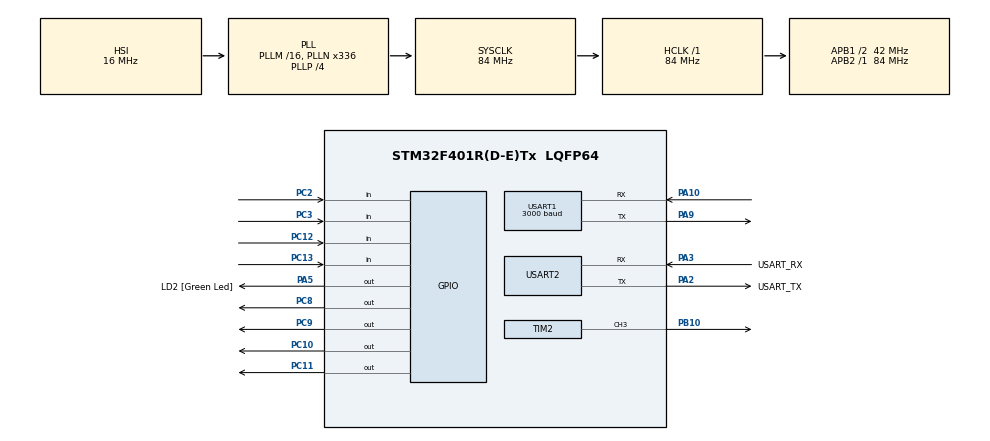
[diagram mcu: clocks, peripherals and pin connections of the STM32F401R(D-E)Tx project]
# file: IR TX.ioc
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Dma.Request0=USART2_TX
Dma.USART2_TX.0.Direction=DMA_MEMORY_TO_PERIPH
Dma.USART2_TX.0.FIFOMode=DMA_FIFOMODE_DISABLE
Dma.USART2_TX.0.Instance=DMA1_Stream6
Dma.USART2_TX.0.MemDataAlignment=DMA_MDATAALIGN_BYTE
Dma.USART2_TX.0.MemInc=DMA_MINC_ENABLE
Dma.USART2_TX.0.Mode=DMA_NORMAL
Dma.USART2_TX.0.PeriphDataAlignment=DMA_PDATAALIGN_BYTE
Dma.USART2_TX.0.PeriphInc=DMA_PINC_DISABLE
Dma.USART2_TX.0.Priority=DMA_PRIORITY_LOW
Mcu.Family=STM32F4
Mcu.Name=STM32F401R(D-E)Tx
Mcu.Package=LQFP64
NVIC.DMA1_Stream6_IRQn=true\:0\:0\:false\:false\:true\:false\:true\:true
NVIC.PriorityGroup=NVIC_PRIORITYGROUP_0
NVIC.TIM1_UP_TIM10_IRQn=true\:0\:0\:false\:false\:true\:true\:true\:true
NVIC.TIM2_IRQn=true\:0\:0\:false\:false\:true\:true\:true\:true
NVIC.TIM3_IRQn=true\:0\:0\:false\:false\:true\:true\:true\:true
NVIC.USART1_IRQn=true\:0\:0\:false\:false\:true\:true\:true\:true
NVIC.USART2_IRQn=true\:0\:0\:false\:false\:true\:true\:true\:true
PA10.Mode=Asynchronous
PA10.Signal=USART1_RX
PA13.GPIO_Label=TMS
PA13.Mode=Serial_Wire
PA13.Signal=SYS_JTMS-SWDIO
PA14.GPIO_Label=TCK
PA14.Mode=Serial_Wire
PA14.Signal=SYS_JTCK-SWCLK
PA2.GPIO_Label=USART_TX
PA2.GPIO_Mode=GPIO_MODE_AF_PP
PA2.GPIO_PuPd=GPIO_NOPULL
PA2.GPIO_Speed=GPIO_SPEED_FREQ_LOW
PA2.Mode=Asynchronous
PA2.Signal=USART2_TX
PA3.GPIO_Label=USART_RX
PA3.GPIO_Mode=GPIO_MODE_AF_PP
PA3.GPIO_PuPd=GPIO_NOPULL
PA3.GPIO_Speed=GPIO_SPEED_FREQ_LOW
PA3.Mode=Asynchronous
PA3.Signal=USART2_RX
PA5.GPIO_Label=LD2 [Green Led]
PA5.GPIO_Mode=GPIO_MODE_OUTPUT_PP
PA5.GPIO_PuPd=GPIO_NOPULL
PA5.GPIO_Speed=GPIO_SPEED_FREQ_LOW
PA5.Signal=GPIO_Output
PA9.Mode=Asynchronous
PA9.Signal=USART1_TX
PB10.Signal=S_TIM2_CH3
PB3.GPIO_Label=SWO
PB3.Signal=SYS_JTDO-SWO
PC10.Signal=GPIO_Output
PC11.Signal=GPIO_Output
PC12.Signal=GPIO_Input
PC13-ANTI_TAMP.GPIO_PuPd=GPIO_NOPULL
PC13-ANTI_TAMP.Signal=GPIO_Input
PC14-OSC32_IN.Mode=LSE-External-Oscillator
PC14-OSC32_IN.Signal=RCC_OSC32_IN
PC15-OSC32_OUT.Mode=LSE-External-Oscillator
PC15-OSC32_OUT.Signal=RCC_OSC32_OUT
PC2.Signal=GPIO_Input
PC3.Signal=GPIO_Input
PC8.Signal=GPIO_Output
PC9.Signal=GPIO_Output
PH0\ -\ OSC_IN.Mode=HSE-External-Clock-Source
PH0\ -\ OSC_IN.Signal=RCC_OSC_IN
PH1\ -\ OSC_OUT.Mode=HSE-External-Clock-Source
PH1\ -\ OSC_OUT.Signal=RCC_OSC_OUT
ProjectManager.HeapSize=0x200
ProjectManager.StackSize=0x400
ProjectManager.TargetToolchain=STM32CubeIDE
RCC.48MHZClocksFreq_Value=48000000
RCC.AHBFreq_Value=84000000
RCC.APB1CLKDivider=RCC_HCLK_DIV2
RCC.APB1Freq_Value=42000000
RCC.APB1TimFreq_Value=84000000
RCC.APB2Freq_Value=84000000
RCC.APB2TimFreq_Value=84000000
RCC.CortexFreq_Value=84000000
RCC.HCLKFreq_Value=84000000
RCC.HSE_VALUE=8000000
RCC.HSI_VALUE=16000000
RCC.PLLN=336
RCC.PLLP=RCC_PLLP_DIV4
RCC.PLLQ=7
RCC.SYSCLKFreq_VALUE=84000000
RCC.SYSCLKSource=RCC_SYSCLKSOURCE_PLLCLK
RCC.VCOOutputFreq_Value=336000000
SH.S_TIM2_CH3.0=TIM2_CH3,PWM Generation3 CH3
TIM10.Period=10-1
TIM10.Prescaler=3500-1
TIM2.Channel-PWM\ Generation3\ CH3=TIM_CHANNEL_3
TIM2.Period=2210
TIM2.Prescaler=0
TIM3.Period=8399
TIM3.Prescaler=99
USART1.BaudRate=3000
USART1.VirtualMode=VM_ASYNC
USART2.VirtualMode=VM_ASYNC
VP_TIM10_VS_ClockSourceINT.Mode=Enable_Timer
VP_TIM2_VS_ClockSourceINT.Mode=Internal
VP_TIM3_VS_ClockSourceINT.Mode=Internal
board=NUCLEO-F401RE

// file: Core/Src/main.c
/* USER CODE BEGIN Header */
/**
 ******************************************************************************
 * @file           : main.c
 * @brief          : Main program body
 ******************************************************************************
 * @attention
 *
 * Copyright (c) 2024 STMicroelectronics.
 * All rights reserved.
 *
 * This software is licensed under terms that can be found in the LICENSE file
 * in the root directory of this software component.
 * If no LICENSE file comes with this software, it is provided AS-IS.
 *
 ******************************************************************************
 */
/* USER CODE END Header */
#include "main.h"

TIM_HandleTypeDef htim2;
TIM_HandleTypeDef htim3;
TIM_HandleTypeDef htim10;

UART_HandleTypeDef huart1;
UART_HandleTypeDef huart2;
DMA_HandleTypeDef hdma_usart2_tx;

void SystemClock_Config(void);
static void MX_GPIO_Init(void);
static void MX_DMA_Init(void);
static void MX_USART2_UART_Init(void);
static void MX_TIM2_Init(void);
static void MX_TIM10_Init(void);
static void MX_USART1_UART_Init(void);
static void MX_TIM3_Init(void);

/* USER CODE BEGIN 0 */
#define SAMPLE_RATE 3

char matrix_string[100] = "%d %d %d %d\n\r%d %d %d %d\n\r%d %d %d %d\n\r%d %d %d %d\n\r-------\n\r";
int j=0, k=0, h=0, len=0;
int matrix[4][4] = {0};
int p_matrix[4][4] = {0};
char keyboard[4][4] = {
		{'0','4','8','C'},
		{'1','5','9','D'},
		{'2','6','A','E'},
		{'3','7','B','F'}
};

int BaudElapsedFlag = 0; // note that in TIM_PeriodElapsed_Callback, the flag is set to 1 in case the timer 10 calls it
char RxChar = '0';

HAL_TIM_PeriodElapsedCallback(TIM_HandleTypeDef *htim){

	if(htim == &htim3){
		matrix[j][0] = matrix[j][0] + !HAL_GPIO_ReadPin(GPIOC, GPIO_PIN_12);
		matrix[j][1] = matrix[j][1] + !HAL_GPIO_ReadPin(GPIOC, GPIO_PIN_13);
		matrix[j][2] = matrix[j][2] + !HAL_GPIO_ReadPin(GPIOC, GPIO_PIN_2);
		matrix[j][3] = matrix[j][3] + !HAL_GPIO_ReadPin(GPIOC, GPIO_PIN_3);

		if(j == 3 && k == SAMPLE_RATE * 4 - 1) {
			for(int i=0; i<4;i++){
				for(int j=0; j<4; j++){
					if(p_matrix[i][j] == -1 && matrix[i][j] == 0) p_matrix[i][j] = 0;
					else if(matrix[i][j] == SAMPLE_RATE && p_matrix[i][j] == 0) p_matrix[i][j] = 1;
					matrix[i][j] = 0;
				}
			}
		}
		switch(j){
		case 0: HAL_GPIO_WritePin(GPIOC, GPIO_PIN_8, GPIO_PIN_RESET);
		break;
		case 1: HAL_GPIO_WritePin(GPIOC, GPIO_PIN_9, GPIO_PIN_RESET);
		break;
		case 2: HAL_GPIO_WritePin(GPIOC, GPIO_PIN_10, GPIO_PIN_RESET);
		break;
		case 3: HAL_GPIO_WritePin(GPIOC, GPIO_PIN_11, GPIO_PIN_RESET);
		break;
		}
		j = (j+1)%4;
		switch(j){
		case 0: HAL_GPIO_WritePin(GPIOC, GPIO_PIN_8, GPIO_PIN_SET);
		break;
		case 1: HAL_GPIO_WritePin(GPIOC, GPIO_PIN_9, GPIO_PIN_SET);
		break;
		case 2: HAL_GPIO_WritePin(GPIOC, GPIO_PIN_10, GPIO_PIN_SET);
		break;
		case 3: HAL_GPIO_WritePin(GPIOC, GPIO_PIN_11, GPIO_PIN_SET);
		break;
		}
		k = (k+1)%(SAMPLE_RATE * 4);
	}
	if(htim == &htim10){
		BaudElapsedFlag = 1;
	}
}

void UART_IR_sendByte(char byte){

    HAL_TIM_Base_Start_IT(&htim10);
    HAL_TIM_PWM_Start(&htim2, TIM_CHANNEL_3); //send the start bit

    BaudElapsedFlag = 0;
    while(BaudElapsedFlag == 0){
        // just wait
    }

    for (int bit_ctr = 0; bit_ctr<8; bit_ctr++){
        //checks if the bit at position bit_ctr is a 0
        if((byte & (0x01<<bit_ctr)) == 0){
            HAL_TIM_PWM_Start(&htim2, TIM_CHANNEL_3);
        } else {
            HAL_TIM_PWM_Stop(&htim2, TIM_CHANNEL_3);
        }
        BaudElapsedFlag = 0;
        while(BaudElapsedFlag == 0){
            // just wait
        }
    }

    //Send the stop bit
    HAL_TIM_PWM_Stop(&htim2, TIM_CHANNEL_3);

}

//optional string code

void UART_IR_sendString(char *payload, int size){
    for(int i = 0; i<size; i++){
        UART_IT_sendByte(payload[i]);
        HAL_Delay(1);
    }
}

// Receiver part
void HAL_UART_RxCpltCallbcack(UART_HandleTypeDef *huart)
{
    if (huart == &huart1){

        char buff_tmp[10];
        int len = snprintf(buff_tmp, 10, "%c\n\r", RxChar);
	    HAL_UART_Transmit_DMA(&huart2, buff_tmp, len);
    }
}

/* USER CODE END 0 */

int main(void)
{

  /* MCU Configuration--------------------------------------------------------*/

  /* Reset of all peripherals, Initializes the Flash interface and the Systick. */
  HAL_Init();

  /* Configure the system clock */
  SystemClock_Config();

  /* Initialize all configured peripherals */
  MX_GPIO_Init();
  MX_DMA_Init();
  MX_USART2_UART_Init();
  MX_TIM2_Init();
  MX_TIM10_Init();
  MX_USART1_UART_Init();
  MX_TIM3_Init();
  /* USER CODE BEGIN 2 */
	HAL_TIM_Base_Start_IT(&htim3);
	HAL_TIM_Base_Start_IT(&htim10);
	HAL_UART_Receive_IT(&huart1, &RxChar, 1);
  /* USER CODE END 2 */

  /* Infinite loop */
  /* USER CODE BEGIN WHILE */
	while (1)
	{
        for(int i = 0 ; i < 4; i++){
			for(int j = 0 ; j < 4; j++){

				if(p_matrix[i][j] == 1) {

					p_matrix[i][j] = -1;
					char buff_tmp[10];
					int len = snprintf(buff_tmp, 10, "input: %c\n\r", keyboard[i][j]);
					HAL_UART_Transmit_DMA(&huart2, buff_tmp, len);

					UART_IR_sendByte(keyboard[i][j]);

				}
			}
		}
    /* USER CODE END WHILE */

	}
}

void SystemClock_Config(void)
{
  RCC_OscInitTypeDef RCC_OscInitStruct = {0};
  RCC_ClkInitTypeDef RCC_ClkInitStruct = {0};

  /** Configure the main internal regulator output voltage
  */
  __HAL_RCC_PWR_CLK_ENABLE();
  __HAL_PWR_VOLTAGESCALING_CONFIG(PWR_REGULATOR_VOLTAGE_SCALE2);

  /** Initializes the RCC Oscillators according to the specified parameters
  * in the RCC_OscInitTypeDef structure.
  */
  RCC_OscInitStruct.OscillatorType = RCC_OSCILLATORTYPE_HSI;
  RCC_OscInitStruct.HSIState = RCC_HSI_ON;
  RCC_OscInitStruct.HSICalibrationValue = RCC_HSICALIBRATION_DEFAULT;
  RCC_OscInitStruct.PLL.PLLState = RCC_PLL_ON;
  RCC_OscInitStruct.PLL.PLLSource = RCC_PLLSOURCE_HSI;
  RCC_OscInitStruct.PLL.PLLM = 16;
  RCC_OscInitStruct.PLL.PLLN = 336;
  RCC_OscInitStruct.PLL.PLLP = RCC_PLLP_DIV4;
  RCC_OscInitStruct.PLL.PLLQ = 7;
  if (HAL_RCC_OscConfig(&RCC_OscInitStruct) != HAL_OK)
  {
    Error_Handler();
  }

  /** Initializes the CPU, AHB and APB buses clocks
  */
  RCC_ClkInitStruct.ClockType = RCC_CLOCKTYPE_HCLK|RCC_CLOCKTYPE_SYSCLK
                              |RCC_CLOCKTYPE_PCLK1|RCC_CLOCKTYPE_PCLK2;
  RCC_ClkInitStruct.SYSCLKSource = RCC_SYSCLKSOURCE_PLLCLK;
  RCC_ClkInitStruct.AHBCLKDivider = RCC_SYSCLK_DIV1;
  RCC_ClkInitStruct.APB1CLKDivider = RCC_HCLK_DIV2;
  RCC_ClkInitStruct.APB2CLKDivider = RCC_HCLK_DIV1;

  if (HAL_RCC_ClockConfig(&RCC_ClkInitStruct, FLASH_LATENCY_2) != HAL_OK)
  {
    Error_Handler();
  }
}

static void MX_TIM2_Init(void)
{

  TIM_ClockConfigTypeDef sClockSourceConfig = {0};
  TIM_MasterConfigTypeDef sMasterConfig = {0};
  TIM_OC_InitTypeDef sConfigOC = {0};

  htim2.Instance = TIM2;
  htim2.Init.Prescaler = 0;
  htim2.Init.CounterMode = TIM_COUNTERMODE_UP;
  htim2.Init.Period = 2210;
  htim2.Init.ClockDivision = TIM_CLOCKDIVISION_DIV1;
  htim2.Init.AutoReloadPreload = TIM_AUTORELOAD_PRELOAD_DISABLE;
  if (HAL_TIM_Base_Init(&htim2) != HAL_OK)
  {
    Error_Handler();
  }
  sClockSourceConfig.ClockSource = TIM_CLOCKSOURCE_INTERNAL;
  if (HAL_TIM_ConfigClockSource(&htim2, &sClockSourceConfig) != HAL_OK)
  {
    Error_Handler();
  }
  if (HAL_TIM_PWM_Init(&htim2) != HAL_OK)
  {
    Error_Handler();
  }
  sMasterConfig.MasterOutputTrigger = TIM_TRGO_RESET;
  sMasterConfig.MasterSlaveMode = TIM_MASTERSLAVEMODE_DISABLE;
  if (HAL_TIMEx_MasterConfigSynchronization(&htim2, &sMasterConfig) != HAL_OK)
  {
    Error_Handler();
  }
  sConfigOC.OCMode = TIM_OCMODE_PWM1;
  sConfigOC.Pulse = 0;
  sConfigOC.OCPolarity = TIM_OCPOLARITY_HIGH;
  sConfigOC.OCFastMode = TIM_OCFAST_DISABLE;
  if (HAL_TIM_PWM_ConfigChannel(&htim2, &sConfigOC, TIM_CHANNEL_3) != HAL_OK)
  {
    Error_Handler();
  }
  HAL_TIM_MspPostInit(&htim2);

}

static void MX_TIM3_Init(void)
{

  TIM_ClockConfigTypeDef sClockSourceConfig = {0};
  TIM_MasterConfigTypeDef sMasterConfig = {0};

  htim3.Instance = TIM3;
  htim3.Init.Prescaler = 99;
  htim3.Init.CounterMode = TIM_COUNTERMODE_UP;
  htim3.Init.Period = 8399;
  htim3.Init.ClockDivision = TIM_CLOCKDIVISION_DIV1;
  htim3.Init.AutoReloadPreload = TIM_AUTORELOAD_PRELOAD_DISABLE;
  if (HAL_TIM_Base_Init(&htim3) != HAL_OK)
  {
    Error_Handler();
  }
  sClockSourceConfig.ClockSource = TIM_CLOCKSOURCE_INTERNAL;
  if (HAL_TIM_ConfigClockSource(&htim3, &sClockSourceConfig) != HAL_OK)
  {
    Error_Handler();
  }
  sMasterConfig.MasterOutputTrigger = TIM_TRGO_RESET;
  sMasterConfig.MasterSlaveMode = TIM_MASTERSLAVEMODE_DISABLE;
  if (HAL_TIMEx_MasterConfigSynchronization(&htim3, &sMasterConfig) != HAL_OK)
  {
    Error_Handler();
  }

}

static void MX_TIM10_Init(void)
{

  htim10.Instance = TIM10;
  htim10.Init.Prescaler = 3500-1;
  htim10.Init.CounterMode = TIM_COUNTERMODE_UP;
  htim10.Init.Period = 10-1;
  htim10.Init.ClockDivision = TIM_CLOCKDIVISION_DIV1;
  htim10.Init.AutoReloadPreload = TIM_AUTORELOAD_PRELOAD_DISABLE;
  if (HAL_TIM_Base_Init(&htim10) != HAL_OK)
  {
    Error_Handler();
  }

}

static void MX_USART1_UART_Init(void)
{

  huart1.Instance = USART1;
  huart1.Init.BaudRate = 3000;
  huart1.Init.WordLength = UART_WORDLENGTH_8B;
  huart1.Init.StopBits = UART_STOPBITS_1;
  huart1.Init.Parity = UART_PARITY_NONE;
  huart1.Init.Mode = UART_MODE_TX_RX;
  huart1.Init.HwFlowCtl = UART_HWCONTROL_NONE;
  huart1.Init.OverSampling = UART_OVERSAMPLING_16;
  if (HAL_UART_Init(&huart1) != HAL_OK)
  {
    Error_Handler();
  }

}

static void MX_USART2_UART_Init(void)
{

  huart2.Instance = USART2;
  huart2.Init.BaudRate = 115200;
  huart2.Init.WordLength = UART_WORDLENGTH_8B;
  huart2.Init.StopBits = UART_STOPBITS_1;
  huart2.Init.Parity = UART_PARITY_NONE;
  huart2.Init.Mode = UART_MODE_TX_RX;
  huart2.Init.HwFlowCtl = UART_HWCONTROL_NONE;
  huart2.Init.OverSampling = UART_OVERSAMPLING_16;
  if (HAL_UART_Init(&huart2) != HAL_OK)
  {
    Error_Handler();
  }

}

static void MX_DMA_Init(void)
{

  /* DMA controller clock enable */
  __HAL_RCC_DMA1_CLK_ENABLE();

  /* DMA interrupt init */
  /* DMA1_Stream6_IRQn interrupt configuration */
  HAL_NVIC_SetPriority(DMA1_Stream6_IRQn, 0, 0);
  HAL_NVIC_EnableIRQ(DMA1_Stream6_IRQn);

}

static void MX_GPIO_Init(void)
{
  GPIO_InitTypeDef GPIO_InitStruct = {0};

  /* GPIO Ports Clock Enable */
  __HAL_RCC_GPIOC_CLK_ENABLE();
  __HAL_RCC_GPIOH_CLK_ENABLE();
  __HAL_RCC_GPIOA_CLK_ENABLE();
  __HAL_RCC_GPIOB_CLK_ENABLE();

  /*Configure GPIO pin Output Level */
  HAL_GPIO_WritePin(LD2_GPIO_Port, LD2_Pin, GPIO_PIN_RESET);

  /*Configure GPIO pin Output Level */
  HAL_GPIO_WritePin(GPIOC, GPIO_PIN_8|GPIO_PIN_9|GPIO_PIN_10|GPIO_PIN_11, GPIO_PIN_RESET);

  /*Configure GPIO pins : PC13 PC2 PC3 PC12 */
  GPIO_InitStruct.Pin = GPIO_PIN_13|GPIO_PIN_2|GPIO_PIN_3|GPIO_PIN_12;
  GPIO_InitStruct.Mode = GPIO_MODE_INPUT;
  GPIO_InitStruct.Pull = GPIO_NOPULL;
  HAL_GPIO_Init(GPIOC, &GPIO_InitStruct);

  /*Configure GPIO pin : LD2_Pin */
  GPIO_InitStruct.Pin = LD2_Pin;
  GPIO_InitStruct.Mode = GPIO_MODE_OUTPUT_PP;
  GPIO_InitStruct.Pull = GPIO_NOPULL;
  GPIO_InitStruct.Speed = GPIO_SPEED_FREQ_LOW;
  HAL_GPIO_Init(LD2_GPIO_Port, &GPIO_InitStruct);

  /*Configure GPIO pins : PC8 PC9 PC10 PC11 */
  GPIO_InitStruct.Pin = GPIO_PIN_8|GPIO_PIN_9|GPIO_PIN_10|GPIO_PIN_11;
  GPIO_InitStruct.Mode = GPIO_MODE_OUTPUT_PP;
  GPIO_InitStruct.Pull = GPIO_NOPULL;
  GPIO_InitStruct.Speed = GPIO_SPEED_FREQ_LOW;
  HAL_GPIO_Init(GPIOC, &GPIO_InitStruct);

}

void Error_Handler(void)
{
	__disable_irq();
	while (1)
	{
	}
}
